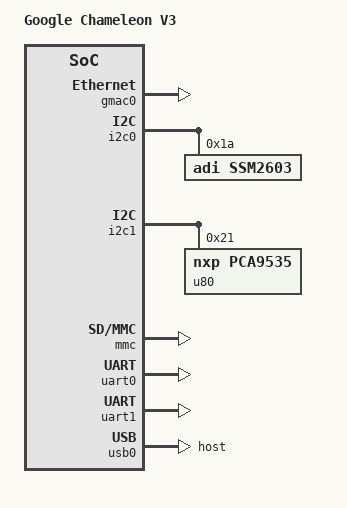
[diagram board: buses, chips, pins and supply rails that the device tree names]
// SPDX-License-Identifier: GPL-2.0
/*
 * Copyright 2022 Google LLC
 */
/dts-v1/;
#include "socfpga_arria10_mercury_aa1.dtsi"

/ {
	model = "Google Chameleon V3";
	compatible = "google,chameleon-v3", "enclustra,mercury-aa1",
		     "altr,socfpga-arria10", "altr,socfpga";

	soc {
		fb0: video@c0060500 {
			compatible = "google,chv3-fb";
			reg = <0xc0060500 0x100>,
			      <0xc0060f20 0x10>;
			interrupts = <GIC_SPI 19 IRQ_TYPE_LEVEL_HIGH>;
			google,legacy-format;
		};

		fb_mst0: video@c0060600 {
			compatible = "google,chv3-fb";
			reg = <0xc0060600 0x100>,
			      <0xc0060f30 0x10>;
			interrupts = <GIC_SPI 22 IRQ_TYPE_LEVEL_HIGH>;

			port {
				fb_mst0_0: endpoint {
					remote-endpoint = <&dprx_mst_0>;
				};
			};
		};

		fb_mst1: video@c0060700 {
			compatible = "google,chv3-fb";
			reg = <0xc0060700 0x100>,
			      <0xc0060f40 0x10>;
			interrupts = <GIC_SPI 23 IRQ_TYPE_LEVEL_HIGH>;

			port {
				fb_mst1_0: endpoint {
					remote-endpoint = <&dprx_mst_1>;
				};
			};
		};

		fb_mst2: video@c0060800 {
			compatible = "google,chv3-fb";
			reg = <0xc0060800 0x100>,
			      <0xc0060f50 0x10>;
			interrupts = <GIC_SPI 24 IRQ_TYPE_LEVEL_HIGH>;

			port {
				fb_mst2_0: endpoint {
					remote-endpoint = <&dprx_mst_2>;
				};
			};
		};

		fb_mst3: video@c0060900 {
			compatible = "google,chv3-fb";
			reg = <0xc0060900 0x100>,
			      <0xc0060f60 0x10>;
			interrupts = <GIC_SPI 25 IRQ_TYPE_LEVEL_HIGH>;

			port {
				fb_mst3_0: endpoint {
					remote-endpoint = <&dprx_mst_3>;
				};
			};
		};

		fb_sst: video@c0060a00 {
			compatible = "google,chv3-fb";
			reg = <0xc0060a00 0x100>,
			      <0xc0060f70 0x10>;
			interrupts = <GIC_SPI 26 IRQ_TYPE_LEVEL_HIGH>;

			port {
				fb_sst_0: endpoint {
					remote-endpoint = <&dprx_sst_0>;
				};
			};
		};

		dprx_mst_irq: intc@c0060f80 {
			compatible = "altr,pio-1.0";
			reg = <0xc0060f80 0x10>;
			interrupts = <GIC_SPI 27 IRQ_TYPE_LEVEL_HIGH>;
			altr,interrupt-type = <IRQ_TYPE_EDGE_RISING>;
			#interrupt-cells = <2>;
			interrupt-controller;
		};

		dprx_sst_irq: intc@c0060fe0 {
			compatible = "altr,pio-1.0";
			reg = <0xc0060fe0 0x10>;
			interrupts = <GIC_SPI 33 IRQ_TYPE_LEVEL_HIGH>;
			altr,interrupt-type = <IRQ_TYPE_EDGE_RISING>;
			#interrupt-cells = <2>;
			interrupt-controller;
		};

		dprx_mst: dp-receiver@c0062000 {
			compatible = "intel,dprx-20.0.1";
			reg = <0xc0062000 0x800>;
			interrupt-parent = <&dprx_mst_irq>;
			interrupts = <0 IRQ_TYPE_EDGE_RISING>;
			intel,max-link-rate = <0x1e>;
			intel,max-lane-count = <4>;
			intel,multi-stream-support;
			intel,max-stream-count = <4>;

			ports {
				#address-cells = <1>;
				#size-cells = <0>;

				port@0 {
					reg = <0>;
					dprx_mst_0: endpoint {
						remote-endpoint = <&fb_mst0_0>;
					};
				};

				port@1 {
					reg = <1>;
					dprx_mst_1: endpoint {
						remote-endpoint = <&fb_mst1_0>;
					};
				};

				port@2 {
					reg = <2>;
					dprx_mst_2: endpoint {
						remote-endpoint = <&fb_mst2_0>;
					};
				};

				port@3 {
					reg = <3>;
					dprx_mst_3: endpoint {
						remote-endpoint = <&fb_mst3_0>;
					};
				};
			};
		};

		dprx_sst: dp-receiver@c0064000 {
			compatible = "intel,dprx-20.0.1";
			reg = <0xc0064000 0x800>;
			interrupt-parent = <&dprx_sst_irq>;
			interrupts = <0 IRQ_TYPE_EDGE_RISING>;
			intel,max-link-rate = <0x1e>;
			intel,max-lane-count = <4>;

			port {
				dprx_sst_0: endpoint {
					remote-endpoint = <&fb_sst_0>;
				};
			};
		};
	};

	aliases {
		serial0 = &uart0;
		i2c0 = &i2c0;
		i2c1 = &i2c1;
	};
};

&gmac0 {
	status = "okay";
};

&gpio0 {
	status = "okay";
};

&gpio1 {
	status = "okay";
};

&gpio2 {
	status = "okay";
};

&i2c0 {
	status = "okay";

	ssm2603: audio-codec@1a {
		compatible = "adi,ssm2603";
		reg = <0x1a>;
	};
};

&i2c1 {
	status = "okay";

	u80: gpio@21 {
		compatible = "nxp,pca9535";
		reg = <0x21>;
		gpio-controller;
		#gpio-cells = <2>;

		gpio-line-names =
			"SOM_AUD_MUTE",
			"DP1_OUT_CEC_EN",
			"DP2_OUT_CEC_EN",
			"DP1_SOM_PS8469_CAD",
			"DPD_SOM_PS8469_CAD",
			"DP_OUT_PWR_EN",
			"STM32_RST_L",
			"STM32_BOOT0",

			"FPGA_PROT",
			"STM32_FPGA_COMM0",
			"TP119",
			"TP120",
			"TP121",
			"TP122",
			"TP123",
			"TP124";
	};
};

&mmc {
	status = "okay";
};

&uart0 {
	status = "okay";
};

&uart1 {
	status = "okay";
};

&usb0 {
	status = "okay";
	dr_mode = "host";
};
